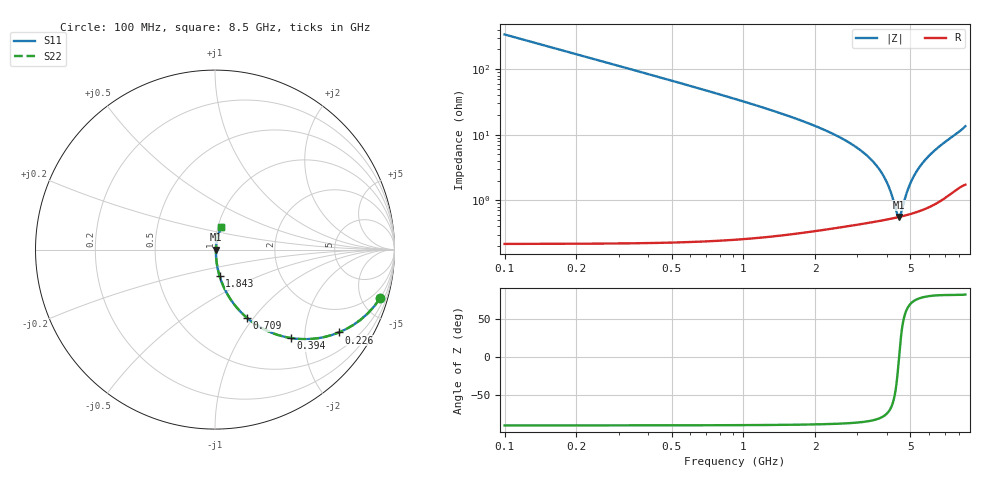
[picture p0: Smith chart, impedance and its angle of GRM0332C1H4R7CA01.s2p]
!Murata Part Number: GRM0332C1H4R7CA01
!These Parameters are Measured in Series Mode Connection
!Data Generated on Mar 30, 2021
!  o--ll--o
!Port1  Port2
!  o------o
!Operation Temp=25[degC], DC Bias Voltage=0[V]
!Freq. Start=100[MHz] Stop=9[GHz] 401[Steps]
# Hz S RI R 50
!Freq.(Hz) S11(Real) S11(Imag) S21(Real) S21(Imag) S12(Real) S12(Imag) S22(Real) S22(Imag)
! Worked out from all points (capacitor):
!   401 points, 100 MHz to 8.5 GHz, reference 50 ohm
!   read as one part in series: C = 4.7 pF near 142 MHz
!   lowest |Z| = 556 mohm at 4.489 GHz (marker M1)
!   series resonance near 4.483 GHz, so ESL is about 270 pH
!   S11 on the Smith chart (normalised r, x): 100 MHz: 1.00, -6.77; 226 MHz: 1.00, -2.99; 394 MHz: 1.00, -1.71; 709 MHz: 1.00, -0.93; 1.843 GHz: 1.01, -0.31; 8.5 GHz: 1.03, +0.27
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1e8  0.9196 -0.2716  0.0804 0.2716  0.0804 0.2716  0.9196 -0.2716
2.26e8  0.6905 -0.4616  0.3095 0.4616  0.3095 0.4616  0.6905 -0.4616
3.94e8  0.4212 -0.4925  0.5788 0.4925  0.5788 0.4925  0.4212 -0.4925
5.41e8  0.2763 -0.4453  0.7237 0.4453  0.7237 0.4453  0.2763 -0.4453
7.09e8  0.1793 -0.3811  0.8207 0.3811  0.8207 0.3811  0.1793 -0.3811
1.024e9  0.0913 -0.2839  0.9087 0.2839  0.9087 0.2839  0.0913 -0.2839
1.507e9  0.0408 -0.1905  0.9592 0.1905  0.9592 0.1905  0.0408 -0.1905
1.843e9  0.0258 -0.1482  0.9742 0.1482  0.9742 0.1482  0.0258 -0.1482
2.914e9  0.00861 -0.0665  0.9914 0.0665  0.9914 0.0665  0.00861 -0.0665
3.397e9  0.00635 -0.0424  0.9937 0.0424  0.9937 0.0424  0.00635 -0.0424
3.775e9  0.00555 -0.0262  0.9945 0.0262  0.9945 0.0262  0.00555 -0.0262
4.069e9  0.00534 -0.0148  0.9947 0.0148  0.9947 0.0148  0.00534 -0.0148
4.3e9  0.00538 -0.00637  0.9946 0.00637  0.9946 0.00637  0.00538 -0.00637
4.405e9  0.00545 -0.00269  0.9946 0.00269  0.9946 0.00269  0.00545 -0.00269
4.489e9  0.00553 0.000193  0.9945 -0.000193  0.9945 -0.000193  0.00553 0.000193
4.573e9  0.00563 0.00303  0.9944 -0.00303  0.9944 -0.00303  0.00563 0.00303
4.846e9  0.00607 0.012  0.9939 -0.012  0.9939 -0.012  0.00607 0.012
5.035e9  0.00648 0.018  0.9935 -0.018  0.9935 -0.018  0.00648 0.018
5.329e9  0.0073 0.027  0.9927 -0.027  0.9927 -0.027  0.0073 0.027
5.707e9  0.00867 0.0382  0.9913 -0.0382  0.9913 -0.0382  0.00867 0.0382
7.114e9  0.0174 0.0783  0.9826 -0.0783  0.9826 -0.0783  0.0174 0.0783
8.5e9  0.0336 0.1269  0.9664 -0.1269  0.9664 -0.1269  0.0336 0.1269
